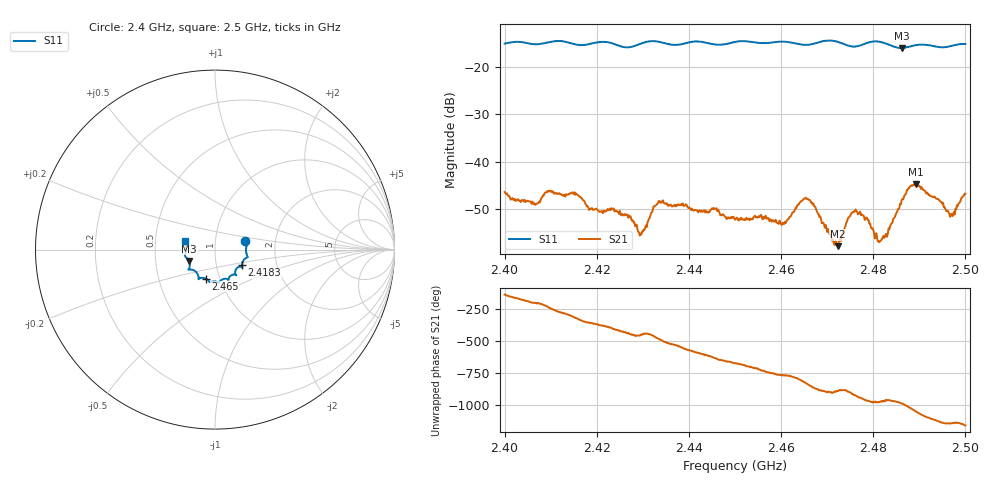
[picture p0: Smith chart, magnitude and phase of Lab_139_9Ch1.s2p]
# Hz S RI R 50
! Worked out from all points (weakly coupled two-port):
!   601 points, 2.4 GHz to 2.5 GHz, reference 50 ohm
!   highest |S21| = -44.81 dB at 2.4893 GHz (marker M1); lowest = -57.9 dB at 2.4723 GHz (marker M2)
!   lowest |S11| = -16.1 dB at 2.4862 GHz (marker M3), VSWR 1.37, Z = 37.1 - j4.79 ohm
!   |S11| at or under -10 dB: start of sweep to end of sweep
!   S12 and S22 are empty: the file has one direction only
!   S11 on the Smith chart (normalised r, x): 2.4 GHz: 1.40, +0.13; 2.4183 GHz: 1.33, -0.24; 2.465 GHz: 0.86, -0.29; 2.5 GHz: 0.71, +0.07
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2.4e9  0.1691 0.0458  -0.00333 -0.00342  0 0  0 0
2.406667e9  0.1723 0.00106  -0.00327 0.00121  0 0  0 0
2.409833e9  0.179 -0.0338  -0.0024 0.0042  0 0  0 0
2.416667e9  0.1545 -0.068  0.00384 0.00145  0 0  0 0
2.418333e9  0.1499 -0.087  0.00308 0.000157  0 0  0 0
2.426833e9  0.119 -0.1068  0.000606 -0.00248  0 0  0 0
2.4295e9  0.1129 -0.1335  -1.3e-05 -0.00174  0 0  0 0
2.433333e9  0.1176 -0.1411  -0.00192 -0.00317  0 0  0 0
2.45e9  0.0251 -0.1808  0.00171 0.00173  0 0  0 0
2.4605e9  -0.0288 -0.1816  0.00143 -0.00167  0 0  0 0
2.465e9  -0.0524 -0.1617  -0.000947 -0.00393  0 0  0 0
2.466667e9  -0.0714 -0.1573  -0.00282 -0.00239  0 0  0 0
2.471167e9  -0.0917 -0.1642  -0.0015 0.000217  0 0  0 0
2.472333e9  -0.0911 -0.1586  -0.00127 -0.00011  0 0  0 0
2.475833e9  -0.1087 -0.1216  -0.00269 0.0013  0 0  0 0
2.478833e9  -0.141 -0.1107  -0.000783 0.00228  0 0  0 0
2.481333e9  -0.1473 -0.1093  -0.000215 0.00139  0 0  0 0
2.483333e9  -0.1415 -0.0965  -0.000853 0.00178  0 0  0 0
2.486167e9  -0.1441 -0.063  8.05e-05 0.00395  0 0  0 0
2.489333e9  -0.1644 -0.0397  0.00533 0.00215  0 0  0 0
2.496833e9  -0.163 0.026  0.00103 -0.00256  0 0  0 0
2.5e9  -0.1673 0.0469  0.000402 -0.00453  0 0  0 0
